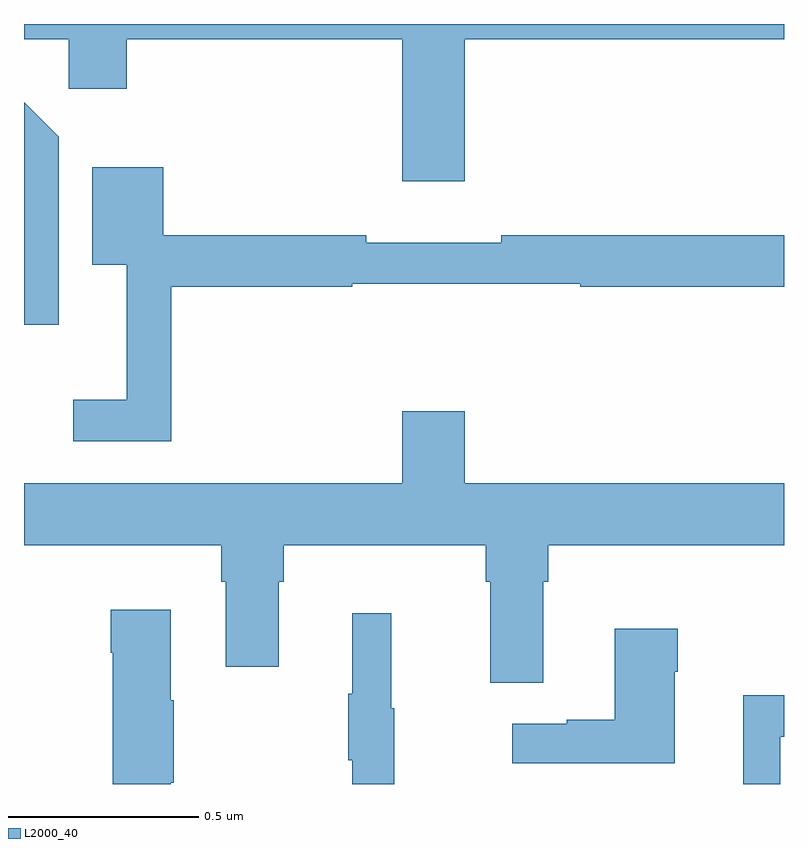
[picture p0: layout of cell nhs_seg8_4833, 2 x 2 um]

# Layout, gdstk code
import gdstk
lib = gdstk.Library(unit=1e-6, precision=1e-09)
def P(c, l, *ps):  # polygons
    for p in ps: c.add(gdstk.Polygon(p, *l))
L2000_40 = (2000, 40)

nhs_seg8_4833 = lib.new_cell('nhs_seg8_4833')
P(nhs_seg8_4833, L2000_40, [(177.16,1089.86),(178,1089.86),(178,1089.9),(176,1089.9),(176,1089.86),(176.118,1089.86),(176.118,1089.729),(176.27,1089.729),(176.27,1089.86),(176.996,1089.86),(176.996,1089.486),(177.16,1089.486)],
  [(176.091,1089.603),(176,1089.694),(176,1089.108),(176.091,1089.108)],
  [(176.387,1089.208),(176.864,1089.208),(176.864,1089.216),(177.464,1089.216),(177.464,1089.208),(178,1089.208),(178,1089.344),(177.256,1089.344),(177.256,1089.325),(176.9,1089.325),(176.9,1089.344),(176.367,1089.344),(176.367,1089.523),(176.18,1089.523),(176.18,1089.266),(176.27,1089.266),(176.27,1088.911),(176.13,1088.911),(176.13,1088.802),(176.387,1088.802)],
  [(177.16,1088.881),(176.996,1088.881),(176.996,1088.692),(176,1088.692),(176,1088.528),(176.519,1088.528),(176.519,1088.432),(176.531,1088.432),(176.531,1088.208),(176.671,1088.208),(176.671,1088.432),(176.684,1088.432),(176.684,1088.528),(177.215,1088.528),(177.215,1088.432),(177.227,1088.432),(177.227,1088.166),(177.367,1088.166),(177.367,1088.432),(177.38,1088.432),(177.38,1088.528),(178,1088.528),(178,1088.692),(177.16,1088.692)],
  [(176.386,1087.903),(176.394,1087.903),(176.394,1088.12),(176.386,1088.12),(176.386,1088.359),(176.228,1088.359),(176.228,1088.246),(176.233,1088.246),(176.233,1087.9),(176.386,1087.9)],
  [(176.974,1088.1),(176.966,1088.1),(176.966,1088.35),(176.864,1088.35),(176.864,1088.137),(176.853,1088.137),(176.853,1087.963),(176.864,1087.963),(176.864,1087.9),(176.974,1087.9)],
  [(177.712,1088.195),(177.72,1088.195),(177.72,1088.308),(177.554,1088.308),(177.554,1088.069),(177.428,1088.069),(177.428,1088.059),(177.285,1088.059),(177.285,1087.955),(177.712,1087.955)],
  [(177.99,1088.025),(178,1088.025),(178,1088.134),(177.893,1088.134),(177.893,1087.9),(177.99,1087.9)])

lib.write_gds('nhs_seg8_4833.gds')
